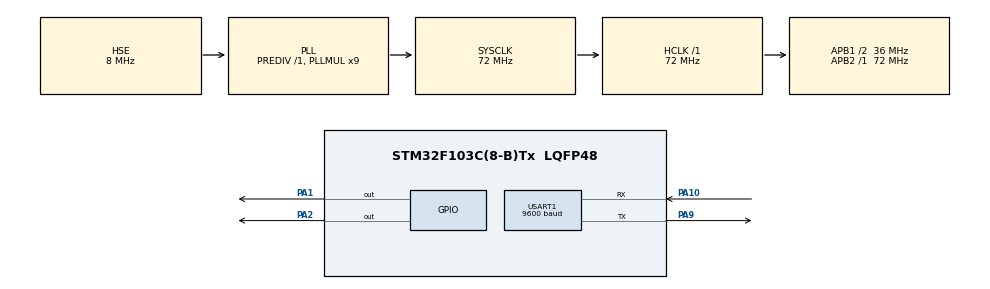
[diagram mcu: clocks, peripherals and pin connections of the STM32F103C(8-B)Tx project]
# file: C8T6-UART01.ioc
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Mcu.Family=STM32F1
Mcu.Name=STM32F103C(8-B)Tx
Mcu.Package=LQFP48
NVIC.PriorityGroup=NVIC_PRIORITYGROUP_4
NVIC.USART1_IRQn=true\:0\:0\:false\:false\:true\:true\:true\:true
PA1.PinState=GPIO_PIN_SET
PA1.Signal=GPIO_Output
PA10.Mode=Asynchronous
PA10.Signal=USART1_RX
PA13.Mode=Serial_Wire
PA13.Signal=SYS_JTMS-SWDIO
PA14.Mode=Serial_Wire
PA14.Signal=SYS_JTCK-SWCLK
PA2.PinState=GPIO_PIN_SET
PA2.Signal=GPIO_Output
PA9.Mode=Asynchronous
PA9.Signal=USART1_TX
PC14-OSC32_IN.Mode=LSE-External-Oscillator
PC14-OSC32_IN.Signal=RCC_OSC32_IN
PC15-OSC32_OUT.Mode=LSE-External-Oscillator
PC15-OSC32_OUT.Signal=RCC_OSC32_OUT
PD0-OSC_IN.Mode=HSE-External-Oscillator
PD0-OSC_IN.Signal=RCC_OSC_IN
PD1-OSC_OUT.Mode=HSE-External-Oscillator
PD1-OSC_OUT.Signal=RCC_OSC_OUT
ProjectManager.HeapSize=0x200
ProjectManager.StackSize=0x400
ProjectManager.TargetToolchain=MDK-ARM V5
RCC.AHBFreq_Value=72000000
RCC.APB1CLKDivider=RCC_HCLK_DIV2
RCC.APB1Freq_Value=36000000
RCC.APB1TimFreq_Value=72000000
RCC.APB2Freq_Value=72000000
RCC.APB2TimFreq_Value=72000000
RCC.HCLKFreq_Value=72000000
RCC.PLLMUL=RCC_PLL_MUL9
RCC.PLLSourceVirtual=RCC_PLLSOURCE_HSE
RCC.SYSCLKFreq_VALUE=72000000
RCC.SYSCLKSource=RCC_SYSCLKSOURCE_PLLCLK
RCC.USBFreq_Value=72000000
USART1.BaudRate=9600
USART1.VirtualMode=VM_ASYNC
board=custom

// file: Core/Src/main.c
/* USER CODE BEGIN Header */
/**
  ******************************************************************************
  * @file           : main.c
  * @brief          : Main program body
  ******************************************************************************
  * @attention
  *
  * Copyright (c) 2026 STMicroelectronics.
  * All rights reserved.
  *
  * This software is licensed under terms that can be found in the LICENSE file
  * in the root directory of this software component.
  * If no LICENSE file comes with this software, it is provided AS-IS.
  *
  ******************************************************************************
  */
/* USER CODE END Header */
#include "main.h"
#include "usart.h"
#include "gpio.h"

void SystemClock_Config(void);

/* USER CODE BEGIN 0 */

HAL_StatusTypeDef tx_status;

#define LED1_ON()           HAL_GPIO_WritePin(GPIOA, GPIO_PIN_1, GPIO_PIN_RESET);
#define LED1_OFF()          HAL_GPIO_WritePin(GPIOA, GPIO_PIN_1, GPIO_PIN_SET);
#define LED2_ON()           HAL_GPIO_WritePin(GPIOA, GPIO_PIN_2, GPIO_PIN_RESET);
#define LED2_OFF()          HAL_GPIO_WritePin(GPIOA, GPIO_PIN_2, GPIO_PIN_SET);

uint8_t Tx_str1[] = "hello world\r\n";
uint8_t Tx_str2[] = "LED2 Open\r\n";
uint8_t Tx_str3[] = "LED2 Closed\r\n";

uint8_t Rx_date = 0;

void HAL_UART_RxCpltCallback(UART_HandleTypeDef *huart)
{
    if(huart->Instance == USART1)
    {
        if(Rx_date == 0xa1)
        {
            LED2_ON();

            LED1_ON();
            HAL_UART_Transmit(&huart1, Tx_str2, sizeof(Tx_str2), 10000 );
            LED1_OFF();
            HAL_UART_Receive_IT(&huart1, &Rx_date, 1);

        }
        else if(Rx_date == 0xa2)
        {
            LED2_OFF();

            LED1_ON();
            HAL_UART_Transmit(&huart1, Tx_str3, sizeof(Tx_str3), 10000 );
            LED1_OFF();
            HAL_UART_Receive_IT(&huart1, &Rx_date, 1);
        }
    }
}

/* USER CODE END 0 */

int main(void)
{

  /* MCU Configuration--------------------------------------------------------*/

  /* Reset of all peripherals, Initializes the Flash interface and the Systick. */
  HAL_Init();

  /* Configure the system clock */
  SystemClock_Config();

  /* Initialize all configured peripherals */
  MX_GPIO_Init();
  MX_USART1_UART_Init();
  /* USER CODE BEGIN 2 */

  LED1_ON();
  tx_status = HAL_UART_Transmit(&huart1, Tx_str1, sizeof(Tx_str1), 10000 );
  LED1_OFF();
  HAL_UART_Receive_IT(&huart1, &Rx_date, 1);

  /* USER CODE END 2 */

  /* Infinite loop */
  while (1)
  {

  }
}

void SystemClock_Config(void)
{
  RCC_OscInitTypeDef RCC_OscInitStruct = {0};
  RCC_ClkInitTypeDef RCC_ClkInitStruct = {0};

  /** Initializes the RCC Oscillators according to the specified parameters
  * in the RCC_OscInitTypeDef structure.
  */
  RCC_OscInitStruct.OscillatorType = RCC_OSCILLATORTYPE_HSE;
  RCC_OscInitStruct.HSEState = RCC_HSE_ON;
  RCC_OscInitStruct.HSEPredivValue = RCC_HSE_PREDIV_DIV1;
  RCC_OscInitStruct.HSIState = RCC_HSI_ON;
  RCC_OscInitStruct.PLL.PLLState = RCC_PLL_ON;
  RCC_OscInitStruct.PLL.PLLSource = RCC_PLLSOURCE_HSE;
  RCC_OscInitStruct.PLL.PLLMUL = RCC_PLL_MUL9;
  if (HAL_RCC_OscConfig(&RCC_OscInitStruct) != HAL_OK)
  {
    Error_Handler();
  }

  /** Initializes the CPU, AHB and APB buses clocks
  */
  RCC_ClkInitStruct.ClockType = RCC_CLOCKTYPE_HCLK|RCC_CLOCKTYPE_SYSCLK
                              |RCC_CLOCKTYPE_PCLK1|RCC_CLOCKTYPE_PCLK2;
  RCC_ClkInitStruct.SYSCLKSource = RCC_SYSCLKSOURCE_PLLCLK;
  RCC_ClkInitStruct.AHBCLKDivider = RCC_SYSCLK_DIV1;
  RCC_ClkInitStruct.APB1CLKDivider = RCC_HCLK_DIV2;
  RCC_ClkInitStruct.APB2CLKDivider = RCC_HCLK_DIV1;

  if (HAL_RCC_ClockConfig(&RCC_ClkInitStruct, FLASH_LATENCY_2) != HAL_OK)
  {
    Error_Handler();
  }
}

void Error_Handler(void)
{
  __disable_irq();
  while (1)
  {
  }
}
